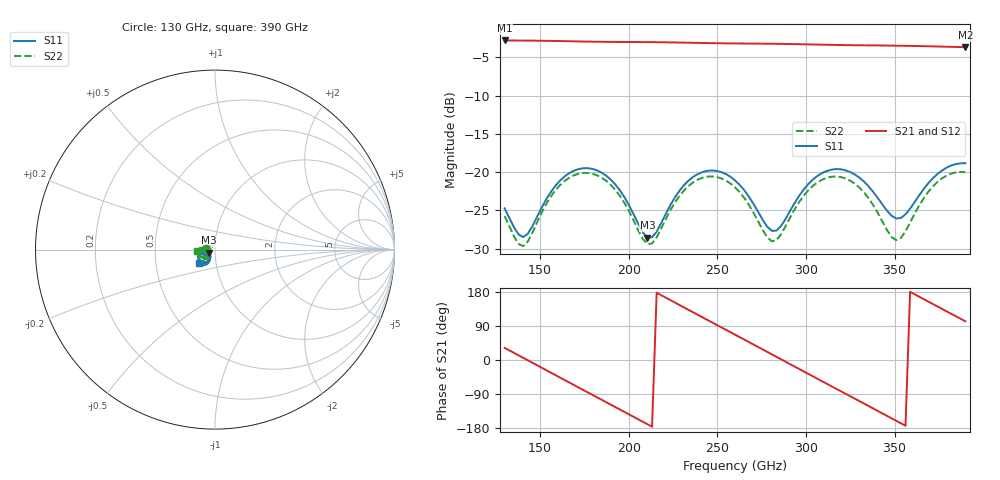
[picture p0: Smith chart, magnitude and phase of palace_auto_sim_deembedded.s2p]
! Created with skrf 1.11.0 (http://scikit-rf.org).
# GHz S DB R 50.0
!freq dBS11 angS11 dBS21 angS21 dBS12 angS12 dBS22 angS22
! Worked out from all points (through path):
!   101 points, 130 GHz to 390 GHz, reference 50 ohm
!   highest |S21| = -2.77 dB at 130 GHz (marker M1); lowest = -3.6 dB at 390 GHz (marker M2)
!   group delay of S21, straight-line fit = 6.94 ps
!   lowest |S11| = -28.5 dB at 210.6 GHz (marker M3), VSWR 1.08, Z = 46.7 - j1.55 ohm
!   |S11| at or under -10 dB: start of sweep to end of sweep
!   |S22| runs from -29.7 to -20.0 dB; largest |S21 - S12| = 8.2e-14
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130  -24.73 -173.6  -2.77 32.0  -2.77 32.0  -25.72 175.2
140.4  -28.48 -146.1  -2.79 6.0  -2.79 6.0  -29.67 -154.6
150.8  -24.68 -118.9  -2.81 -20.1  -2.81 -20.1  -25.33 -128.2
163.8  -20.56 -129.0  -2.86 -52.7  -2.86 -52.7  -21.15 -140.9
174.2  -19.48 -145.3  -2.91 -78.7  -2.91 -78.7  -20.10 -158.7
189.8  -20.95 -169.5  -2.96 -117.5  -2.96 -117.5  -21.63 175.3
210.6  -28.55 -153.7  -2.99 -169.5  -2.99 -169.5  -29.41 -169.8
218.4  -26.63 -124.5  -3.01 170.9  -3.01 170.9  -27.33 -141.2
228.8  -22.38 -121.6  -3.05 144.8  -3.05 144.8  -23.06 -140.2
241.8  -19.97 -138.0  -3.10 112.3  -3.10 112.3  -20.71 -158.4
260  -21.06 -164.0  -3.16 66.9  -3.16 66.9  -21.98 173.2
280.8  -27.67 -148.3  -3.21 14.9  -3.21 14.9  -29.03 -170.3
291.2  -25.01 -118.9  -3.24 -11.2  -3.24 -11.2  -25.88 -141.5
304.2  -20.90 -123.2  -3.30 -43.8  -3.30 -43.8  -21.73 -149.2
314.6  -19.65 -136.6  -3.35 -69.7  -3.35 -69.7  -20.59 -164.9
325  -19.97 -150.6  -3.39 -95.6  -3.39 -95.6  -21.10 178.8
335.4  -21.86 -160.3  -3.42 -121.5  -3.42 -121.5  -23.41 166.7
348.4  -25.70 -149.2  -3.45 -154.0  -3.45 -154.0  -28.49 -179.4
353.6  -25.98 -133.8  -3.46 -167.0  -3.46 -167.0  -28.59 -158.1
366.6  -22.16 -116.0  -3.52 160.4  -3.52 160.4  -23.35 -141.9
379.6  -19.38 -126.5  -3.59 127.9  -3.59 127.9  -20.42 -157.7
390  -18.83 -139.7  -3.64 102.1  -3.64 102.1  -20.00 -174.6
